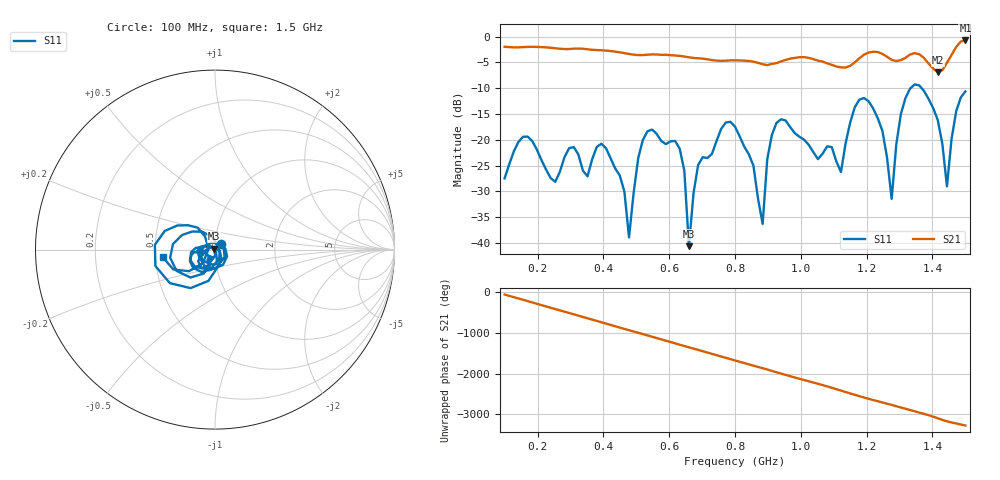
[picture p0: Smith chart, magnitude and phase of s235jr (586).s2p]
! NanoVNA-App
! Date: 2025-09-25 15:08:43
! Start: 100MHz Stop: 1,5GHz Points: 101
! S-Parameter data: F S11 S21 S12 S22
# Hz S RI R 50
!  Frequency  S11_Real  S11_Imag  S21_Real  S21_Imag  S12_Real  S12_Imag  S22_Real  S22_Imag
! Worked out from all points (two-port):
!   101 points, 100 MHz to 1.5 GHz, reference 50 ohm
!   highest |S21| = -0.75 dB at 1.5 GHz (marker M1); lowest = -6.9 dB at 1.416 GHz (marker M2)
!   |S21| within 3 dB of the highest: start of sweep to 633.4 MHz; 1.187 GHz to 1.258 GHz (70.7 MHz wide, 5.78 % of centre) (the widest 2 of 4)
!   lowest |S11| = -40.6 dB at 660 MHz (marker M3), VSWR 1.02, Z = 49.2 + j0.532 ohm
!   |S11| at or under -10 dB: start of sweep to 1.333 GHz; 1.367 GHz to end of sweep
!   S12 and S22 are empty: the file has one direction only
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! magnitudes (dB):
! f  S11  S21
! 100 MHz  -27.5  -2.0
! 156 MHz  -19.4  -2.0
! 338 MHz  -26.0  -2.4
! 408 MHz  -21.6  -2.7
! 478 MHz  -38.9  -3.4
! 520 MHz  -20.0  -3.6
! 576 MHz  -20.2  -3.5
! 632 MHz  -21.7  -3.7
! 660 MHz  -40.6  -4.0
! 688 MHz  -24.9  -4.2
! 800 MHz  -17.5  -4.6
! 884 MHz  -36.3  -5.3
! 926 MHz  -16.7  -5.1
! 1.038 GHz  -22.4  -4.4
! 1.122 GHz  -26.2  -6.0
! 1.192 GHz  -11.9  -3.5
! 1.248 GHz  -18.3  -3.4
! 1.276 GHz  -31.4  -4.5
! 1.332 GHz  -10.1  -3.5
! 1.416 GHz  -16.2  -6.9
! 1.444 GHz  -29.0  -5.1
! 1.5 GHz  -10.6  -0.8
